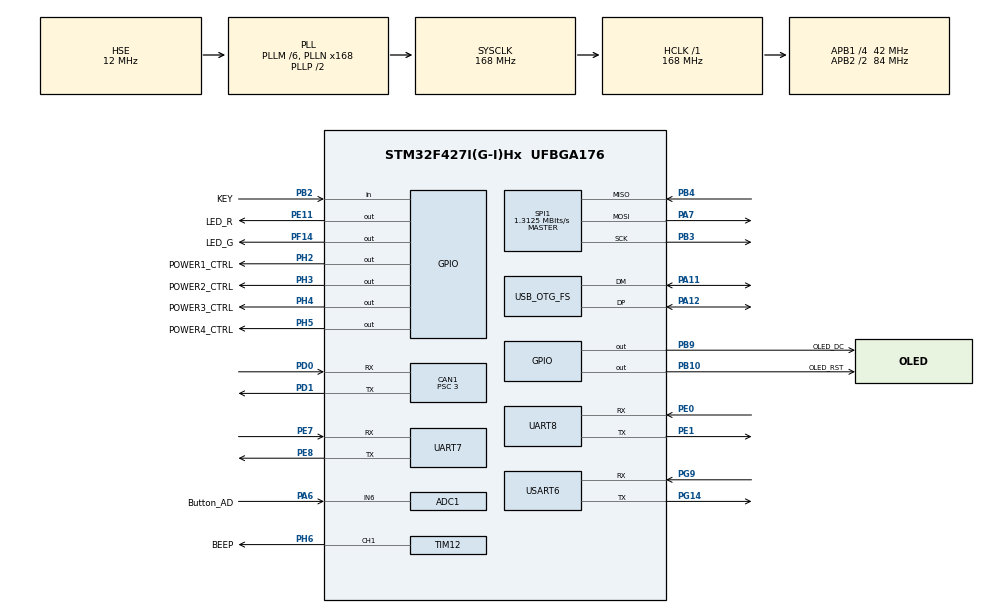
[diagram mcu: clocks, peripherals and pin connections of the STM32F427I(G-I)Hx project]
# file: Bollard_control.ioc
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ADC1.Channel-0\#ChannelRegularConversion=ADC_CHANNEL_6
ADC1.ClockPrescaler=ADC_CLOCK_SYNC_PCLK_DIV4
ADC1.ContinuousConvMode=ENABLE
ADC1.DMAContinuousRequests=DISABLE
ADC1.DataAlign=ADC_DATAALIGN_RIGHT
ADC1.DiscontinuousConvMode=DISABLE
ADC1.EOCSelection=ADC_EOC_SINGLE_CONV
ADC1.EnableAnalogWatchDog=false
ADC1.ExternalTrigConv=ADC_SOFTWARE_START
ADC1.ExternalTrigConvEdge=ADC_EXTERNALTRIGCONVEDGE_NONE
ADC1.InjNumberOfConversion=0
ADC1.NbrOfConversion=1
ADC1.NbrOfConversionFlag=1
ADC1.Rank-0\#ChannelRegularConversion=1
ADC1.Resolution=ADC_RESOLUTION_12B
ADC1.SamplingTime-0\#ChannelRegularConversion=ADC_SAMPLETIME_15CYCLES
ADC1.ScanConvMode=DISABLE
ADC1.master=1
CAN1.ABOM=ENABLE
CAN1.BS1=CAN_BS1_9TQ
CAN1.BS2=CAN_BS2_4TQ
CAN1.CalculateBaudRate=1000000
CAN1.CalculateTimeBit=1000
CAN1.CalculateTimeQuantum=71.42857142857143
CAN1.Prescaler=3
Mcu.Family=STM32F4
Mcu.Name=STM32F427I(G-I)Hx
Mcu.Package=UFBGA176
NVIC.CAN1_RX0_IRQn=true\:0\:0\:false\:false\:true\:true\:true\:true
NVIC.CAN1_TX_IRQn=true\:0\:0\:false\:false\:true\:true\:true\:true
NVIC.OTG_FS_IRQn=true\:0\:0\:false\:false\:true\:false\:true\:true
NVIC.PriorityGroup=NVIC_PRIORITYGROUP_4
PA11.Mode=Device_Only
PA11.Signal=USB_OTG_FS_DM
PA12.Mode=Device_Only
PA12.Signal=USB_OTG_FS_DP
PA13.Mode=Serial_Wire
PA13.Signal=SYS_JTMS-SWDIO
PA14.Mode=Serial_Wire
PA14.Signal=SYS_JTCK-SWCLK
PA6.GPIO_Label=Button_AD
PA6.Signal=ADCx_IN6
PA7.Mode=Full_Duplex_Master
PA7.Signal=SPI1_MOSI
PB10.GPIO_Label=OLED_RST
PB10.Signal=GPIO_Output
PB2/BOOT1.GPIO_Label=KEY
PB2/BOOT1.Signal=GPIO_Input
PB3.Mode=Full_Duplex_Master
PB3.Signal=SPI1_SCK
PB4.Mode=Full_Duplex_Master
PB4.Signal=SPI1_MISO
PB9.GPIO_Label=OLED_DC
PB9.Signal=GPIO_Output
PD0.Mode=CAN_Activate
PD0.Signal=CAN1_RX
PD1.Mode=CAN_Activate
PD1.Signal=CAN1_TX
PE0.Mode=Asynchronous
PE0.Signal=UART8_RX
PE1.Mode=Asynchronous
PE1.Signal=UART8_TX
PE11.GPIO_Label=LED_R
PE11.Signal=GPIO_Output
PE7.Mode=Asynchronous
PE7.Signal=UART7_RX
PE8.Mode=Asynchronous
PE8.Signal=UART7_TX
PF14.GPIO_Label=LED_G
PF14.Signal=GPIO_Output
PG14.Mode=Asynchronous
PG14.Signal=USART6_TX
PG9.Mode=Asynchronous
PG9.Signal=USART6_RX
PH0/OSC_IN.Mode=HSE-External-Oscillator
PH0/OSC_IN.Signal=RCC_OSC_IN
PH1/OSC_OUT.Mode=HSE-External-Oscillator
PH1/OSC_OUT.Signal=RCC_OSC_OUT
PH2.GPIO_Label=POWER1_CTRL
PH2.Signal=GPIO_Output
PH3.GPIO_Label=POWER2_CTRL
PH3.Signal=GPIO_Output
PH4.GPIO_Label=POWER3_CTRL
PH4.Signal=GPIO_Output
PH5.GPIO_Label=POWER4_CTRL
PH5.Signal=GPIO_Output
PH6.GPIO_Label=BEEP
PH6.Signal=S_TIM12_CH1
ProjectManager.HeapSize=0x200
ProjectManager.StackSize=0x400
ProjectManager.TargetToolchain=MDK-ARM V5
RCC.48MHZClocksFreq_Value=48000000
RCC.AHBFreq_Value=168000000
RCC.APB1CLKDivider=RCC_HCLK_DIV4
RCC.APB1Freq_Value=42000000
RCC.APB1TimFreq_Value=84000000
RCC.APB2CLKDivider=RCC_HCLK_DIV2
RCC.APB2Freq_Value=84000000
RCC.APB2TimFreq_Value=168000000
RCC.CortexFreq_Value=168000000
RCC.HCLKFreq_Value=168000000
RCC.HSE_VALUE=12000000
RCC.HSI_VALUE=16000000
RCC.LSE_VALUE=32768
RCC.PLLM=6
RCC.PLLN=168
RCC.PLLQ=7
RCC.SYSCLKFreq_VALUE=168000000
RCC.SYSCLKSource=RCC_SYSCLKSOURCE_PLLCLK
RCC.VCOOutputFreq_Value=336000000
SH.ADCx_IN6.0=ADC1_IN6,IN6
SH.S_TIM12_CH1.0=TIM12_CH1,PWM Generation1 CH1
SPI1.BaudRatePrescaler=SPI_BAUDRATEPRESCALER_64
SPI1.CalculateBaudRate=1.3125 MBits/s
SPI1.Direction=SPI_DIRECTION_2LINES
SPI1.Mode=SPI_MODE_MASTER
SPI1.VirtualType=VM_MASTER
TIM12.AutoReloadPreload=TIM_AUTORELOAD_PRELOAD_ENABLE
TIM12.Channel-PWM\ Generation1\ CH1=TIM_CHANNEL_1
TIM12.Prescaler=179
UART7.VirtualMode=Asynchronous
UART8.VirtualMode=Asynchronous
USART6.VirtualMode=VM_ASYNC
USB_DEVICE.CLASS_NAME_FS=CDC
USB_DEVICE.VirtualMode-CDC_FS=Cdc
USB_DEVICE.VirtualModeFS=Cdc_FS
USB_OTG_FS.VirtualMode=Device_Only
VP_USB_DEVICE_VS_USB_DEVICE_CDC_FS.Mode=CDC_FS
board=RM_OLED

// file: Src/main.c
/* USER CODE BEGIN Header */
/**
  ******************************************************************************
  * @file           : main.c
  * @brief          : Main program body
  ******************************************************************************
  * @attention
  *
  * Copyright (c) 2026 STMicroelectronics.
  * All rights reserved.
  *
  * This software is licensed under terms that can be found in the LICENSE file
  * in the root directory of this software component.
  * If no LICENSE file comes with this software, it is provided AS-IS.
  *
  ******************************************************************************
  */
/* USER CODE END Header */
#include "main.h"
#include "adc.h"
#include "can.h"
#include "spi.h"
#include "tim.h"
#include "usart.h"
#include "usb_device.h"
#include "gpio.h"

/* USER CODE BEGIN Includes */
#include "oled.h"
#include "Button_AD.h"
#include "ui.h"
#include "bsp_can.h"
#include "Emm_V5.h"
#include "GM6020.h"
#include "buzzer.h"
#include "HTMotor.h"

/* USER CODE END Includes */

/* USER CODE BEGIN PV */
/* Private variables ---------------------------------------------------------*/
/* USER CODE END PV */

void SystemClock_Config(void);
/* USER CODE BEGIN PFP */
/* Private function prototypes -----------------------------------------------*/

/* USER CODE END PFP */

/* USER CODE BEGIN 0 */
static void motor_start(UI_MotorId_t motor, int16_t target_speed)
{
  if (motor == UI_MOTOR_GM6020) GM6020_UIStart(motor, target_speed);
  else if (motor == UI_MOTOR_HT) HTMotor_UIStart(motor, target_speed);
}

static void motor_set_speed(UI_MotorId_t motor, int16_t target_speed)
{
  if (motor == UI_MOTOR_GM6020) GM6020_UISetSpeed(motor, target_speed);
  else if (motor == UI_MOTOR_HT) HTMotor_UISetSpeed(motor, target_speed);
}

static void motor_start_pos(UI_MotorId_t motor, int16_t target_pos_deg)
{
  if (motor == UI_MOTOR_GM6020) GM6020_UIStartPos(motor, target_pos_deg);
  else if (motor == UI_MOTOR_HT) HTMotor_UIStartPos(motor, target_pos_deg);
}

static void motor_set_pos(UI_MotorId_t motor, int16_t target_pos_deg)
{
  if (motor == UI_MOTOR_GM6020) GM6020_UISetPos(motor, target_pos_deg);
  else if (motor == UI_MOTOR_HT) HTMotor_UISetPos(motor, target_pos_deg);
}

static void motor_stop(UI_MotorId_t motor)
{
  if (motor == UI_MOTOR_GM6020) GM6020_UIStop(motor);
  else if (motor == UI_MOTOR_HT) HTMotor_UIStop(motor);
}

static void oled_set_contrast(uint8_t contrast)
{
  oled_write_byte(0x81, OLED_CMD);
  oled_write_byte(contrast, OLED_CMD);
}

static void boot_logo_fade_and_wait_key(void)
{
  uint16_t i = 0U;
  uint16_t level = 0U;
  const uint16_t fade_steps = 64U;

  oled_LOGO();

  for (i = 0U; i <= fade_steps; i++)
  {
    level = (uint16_t)((0xCFU * i * i) / (fade_steps * fade_steps));
    oled_set_contrast((uint8_t)level);
    HAL_Delay(30);
  }
  oled_set_contrast(0xCFU);
}

/* USER CODE END 0 */

int main(void)
{

  /* MCU Configuration--------------------------------------------------------*/

  /* Reset of all peripherals, Initializes the Flash interface and the Systick. */
  HAL_Init();

  /* Configure the system clock */
  SystemClock_Config();

  /* Initialize all configured peripherals */
  MX_GPIO_Init();
  MX_ADC1_Init();
  MX_SPI1_Init();
  MX_CAN1_Init();
  MX_TIM12_Init();
  MX_UART7_Init();
  MX_UART8_Init();
  MX_USART6_UART_Init();
  MX_USB_DEVICE_Init();
  /* USER CODE BEGIN 2 */
	led_off();
  HAL_GPIO_WritePin(GPIOH, POWER1_CTRL_Pin|POWER2_CTRL_Pin|POWER3_CTRL_Pin|POWER4_CTRL_Pin, GPIO_PIN_SET);
  oled_init();
  ButtonAD_Init();
  can_user_init(&hcan1);
  GM6020_Init();
  HTMotor_Init();
  Buzzer_Init();
  EmmMotor_Init();
  USB_UART8_BridgeInit();

  boot_logo_fade_and_wait_key();

  UI_Callbacks_t ui_cb = { 0 };
  ui_cb.on_motor_start = motor_start;
  ui_cb.on_motor_set_speed = motor_set_speed;
  ui_cb.on_motor_start_pos = motor_start_pos;
  ui_cb.on_motor_set_pos = motor_set_pos;
  ui_cb.on_motor_stop = motor_stop;
  UI_Init(&ui_cb);
  UI_RequestRedraw();

  /* USER CODE END 2 */

  /* Infinite loop */
  while (1)
  {

    /* USER CODE BEGIN 3 */
    static uint32_t led_last_tick = 0;
    uint32_t now = HAL_GetTick();
    GPIO_PinState key_sample = HAL_GPIO_ReadPin(KEY_GPIO_Port, KEY_Pin);
    ButtonAD_Key_t ui_key = ButtonAD_ReadKey();
    GM6020_Task(now, key_sample);
    HTMotor_Task(now);
    EmmMotor_Task(now);
    USB_UART8_BridgeTask(now);

    UI_Task(now, ui_key);

    if ((HAL_GetTick() - led_last_tick) >= 500U)
    {
      HAL_GPIO_TogglePin(LED_G_GPIO_Port, LED_G_Pin);
      led_last_tick = HAL_GetTick();
    }

    HAL_Delay(1);

  }
  /* USER CODE END 3 */
}

void SystemClock_Config(void)
{
  RCC_OscInitTypeDef RCC_OscInitStruct = {0};
  RCC_ClkInitTypeDef RCC_ClkInitStruct = {0};

  /** Configure the main internal regulator output voltage
  */
  __HAL_RCC_PWR_CLK_ENABLE();
  __HAL_PWR_VOLTAGESCALING_CONFIG(PWR_REGULATOR_VOLTAGE_SCALE1);

  /** Initializes the RCC Oscillators according to the specified parameters
  * in the RCC_OscInitTypeDef structure.
  */
  RCC_OscInitStruct.OscillatorType = RCC_OSCILLATORTYPE_HSE;
  RCC_OscInitStruct.HSEState = RCC_HSE_ON;
  RCC_OscInitStruct.PLL.PLLState = RCC_PLL_ON;
  RCC_OscInitStruct.PLL.PLLSource = RCC_PLLSOURCE_HSE;
  RCC_OscInitStruct.PLL.PLLM = 6;
  RCC_OscInitStruct.PLL.PLLN = 168;
  RCC_OscInitStruct.PLL.PLLP = RCC_PLLP_DIV2;
  RCC_OscInitStruct.PLL.PLLQ = 7;
  if (HAL_RCC_OscConfig(&RCC_OscInitStruct) != HAL_OK)
  {
    Error_Handler();
  }

  /** Initializes the CPU, AHB and APB buses clocks
  */
  RCC_ClkInitStruct.ClockType = RCC_CLOCKTYPE_HCLK|RCC_CLOCKTYPE_SYSCLK
                              |RCC_CLOCKTYPE_PCLK1|RCC_CLOCKTYPE_PCLK2;
  RCC_ClkInitStruct.SYSCLKSource = RCC_SYSCLKSOURCE_PLLCLK;
  RCC_ClkInitStruct.AHBCLKDivider = RCC_SYSCLK_DIV1;
  RCC_ClkInitStruct.APB1CLKDivider = RCC_HCLK_DIV4;
  RCC_ClkInitStruct.APB2CLKDivider = RCC_HCLK_DIV2;

  if (HAL_RCC_ClockConfig(&RCC_ClkInitStruct, FLASH_LATENCY_5) != HAL_OK)
  {
    Error_Handler();
  }
}

void Error_Handler(void)
{
  while(1)
  {
  }
}
